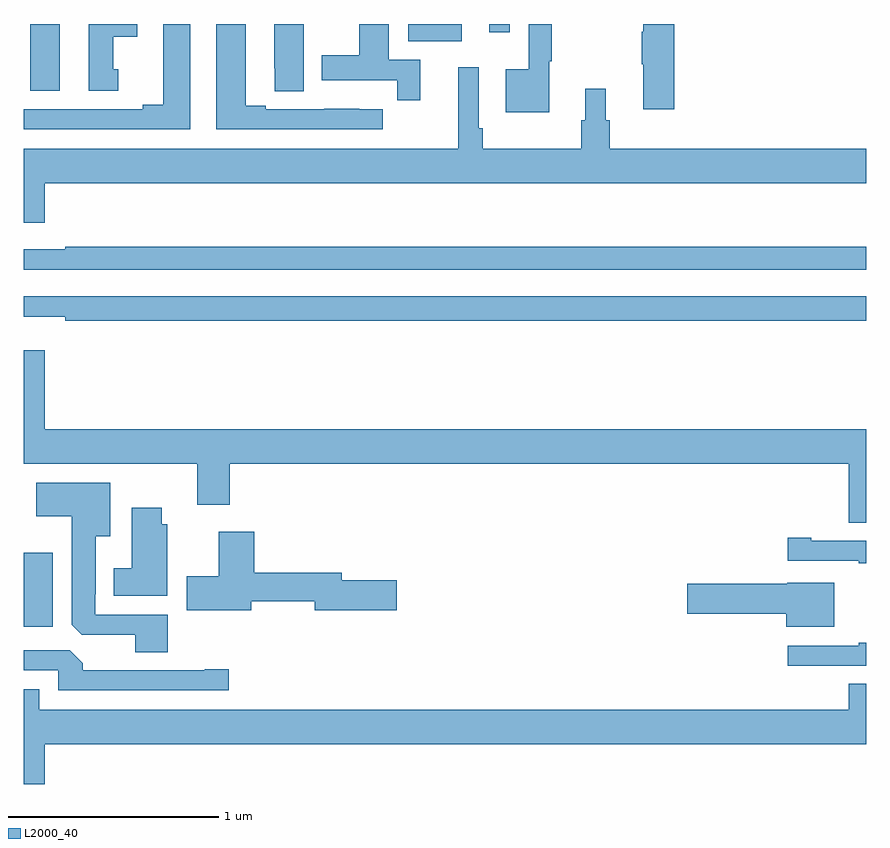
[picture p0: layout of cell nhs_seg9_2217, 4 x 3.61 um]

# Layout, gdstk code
import gdstk
lib = gdstk.Library(unit=1e-6, precision=1e-09)
def R(c, l, rs):  # rectangles x0, y0, x1, y1
    for r in rs: c.add(gdstk.rectangle(r[:2], r[2:], *l))
def P(c, l, *ps):  # polygons
    for p in ps: c.add(gdstk.Polygon(p, *l))
L2000_40 = (2000, 40)

nhs_seg9_2217 = lib.new_cell('nhs_seg9_2217')
R(nhs_seg9_2217, L2000_40, [(237,1203.638,237.139,1203.991), (237.032,1206.183,237.172,1206.5), (238.826,1206.419,239.08,1206.5), (239.21,1206.462,239.307,1206.5)])
P(nhs_seg9_2217, L2000_40, [(240.089,1206.5),(239.942,1206.5),(239.942,1206.464),(239.935,1206.464),(239.935,1206.308),(239.942,1206.308),(239.942,1206.096),(240.089,1206.096)],
  [(239.494,1206.324),(239.506,1206.324),(239.506,1206.5),(239.397,1206.5),(239.397,1206.286),(239.288,1206.286),(239.288,1206.08),(239.494,1206.08)],
  [(238.33,1206.5),(238.19,1206.5),(238.19,1206.289),(238.191,1206.289),(238.191,1206.181),(238.33,1206.181)],
  [(238.883,1206.33),(238.732,1206.33),(238.732,1206.5),(238.592,1206.5),(238.592,1206.351),(238.415,1206.351),(238.415,1206.234),(238.774,1206.234),(238.774,1206.138),(238.883,1206.138)],
  [(237.79,1206.5),(237.662,1206.5),(237.662,1206.116),(237.566,1206.116),(237.566,1206.096),(237,1206.096),(237,1206),(237.79,1206)],
  [(237.448,1206.285),(237.424,1206.285),(237.424,1206.44),(237.538,1206.44),(237.538,1206.5),(237.308,1206.5),(237.308,1206.183),(237.448,1206.183)],
  [(238.705,1206.096),(238.592,1206.096),(238.592,1206.097),(238.426,1206.097),(238.426,1206.096),(238.15,1206.096),(238.15,1206.111),(238.054,1206.111),(238.054,1206.5),(237.914,1206.5),(237.914,1206),(238.705,1206)],
  [(237.1,1205.744),(241,1205.744),(241,1205.908),(239.783,1205.908),(239.783,1206.042),(239.764,1206.042),(239.764,1206.193),(239.666,1206.193),(239.666,1206.042),(239.647,1206.042),(239.647,1205.908),(239.18,1205.908),(239.18,1206.004),(239.16,1206.004),(239.16,1206.295),(239.063,1206.295),(239.063,1205.908),(237,1205.908),(237,1205.556),(237.1,1205.556)],
  [(241,1205.443),(237.196,1205.443),(237.196,1205.43),(237,1205.43),(237,1205.334),(241,1205.334)],
  [(241,1205.208),(237,1205.208),(237,1205.111),(237.196,1205.111),(237.196,1205.092),(241,1205.092)],
  [(241,1204.576),(237.1,1204.576),(237.1,1204.951),(237,1204.951),(237,1204.412),(237.824,1204.412),(237.824,1204.218),(237.977,1204.218),(237.977,1204.412),(240.917,1204.412),(240.917,1204.132),(241,1204.132)],
  [(237.683,1203.696),(237.339,1203.696),(237.339,1203.793),(237.343,1203.793),(237.343,1204.067),(237.412,1204.067),(237.412,1204.321),(237.06,1204.321),(237.06,1204.163),(237.227,1204.163),(237.227,1203.649),(237.276,1203.6),(237.53,1203.6),(237.53,1203.517),(237.683,1203.517)],
  [(237.682,1204.125),(237.655,1204.125),(237.655,1204.204),(237.512,1204.204),(237.512,1203.916),(237.428,1203.916),(237.428,1203.785),(237.682,1203.785)],
  [(238.081,1203.76),(238.382,1203.76),(238.382,1203.718),(238.771,1203.718),(238.771,1203.86),(238.51,1203.86),(238.51,1203.896),(238.094,1203.896),(238.094,1204.09),(237.926,1204.09),(237.926,1203.879),(237.774,1203.879),(237.774,1203.716),(238.081,1203.716)],
  [(241,1204.047),(240.739,1204.047),(240.739,1204.06),(240.627,1204.06),(240.627,1203.951),(240.965,1203.951),(240.965,1203.939),(241,1203.939)],
  [(240.847,1203.847),(240.624,1203.847),(240.624,1203.842),(240.15,1203.842),(240.15,1203.7),(240.62,1203.7),(240.62,1203.638),(240.847,1203.638)],
  [(241,1203.562),(240.965,1203.562),(240.965,1203.549),(240.627,1203.549),(240.627,1203.453),(241,1203.453)],
  [(237.973,1203.437),(237.86,1203.437),(237.86,1203.432),(237.281,1203.432),(237.281,1203.466),(237.219,1203.528),(237,1203.528),(237,1203.432),(237.165,1203.432),(237.165,1203.336),(237.973,1203.336)],
  [(237.1,1203.08),(241,1203.08),(241,1203.368),(240.917,1203.368),(240.917,1203.244),(237.073,1203.244),(237.073,1203.343),(237,1203.343),(237,1202.892),(237.1,1202.892)])

lib.write_gds('nhs_seg9_2217.gds')
